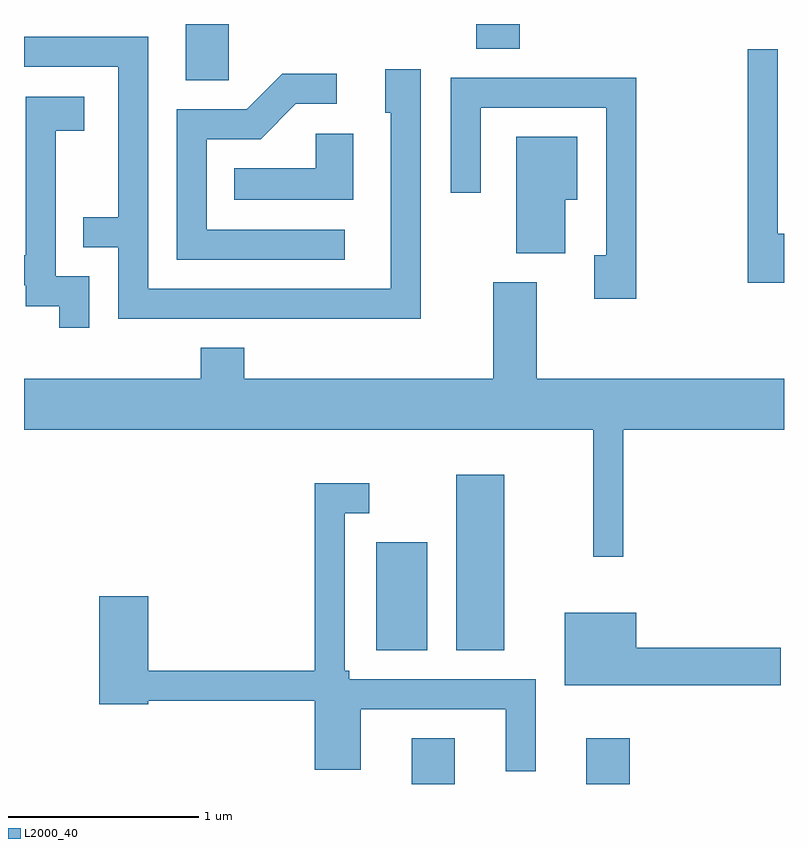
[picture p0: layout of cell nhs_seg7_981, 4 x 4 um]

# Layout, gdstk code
import gdstk
lib = gdstk.Library(unit=1e-6, precision=1e-09)
def R(c, l, rs):  # rectangles x0, y0, x1, y1
    for r in rs: c.add(gdstk.rectangle(r[:2], r[2:], *l))
def P(c, l, *ps):  # polygons
    for p in ps: c.add(gdstk.Polygon(p, *l))
L2000_40 = (2000, 40)

nhs_seg7_981 = lib.new_cell('nhs_seg7_981')
R(nhs_seg7_981, L2000_40, [(217.651,1690.252,217.879,1690.494), (218.571,1690.252,218.799,1690.494), (217.466,1690.956,217.734,1691.524), (217.886,1690.956,218.139,1691.879), (216.461,1693.956,216.689,1694.252), (217.991,1694.121,218.219,1694.252)])
P(nhs_seg7_981, L2000_40, [(217.699,1694.014),(217.511,1694.014),(217.511,1693.786),(217.541,1693.786),(217.541,1692.859),(216.264,1692.859),(216.264,1694.184),(215.611,1694.184),(215.611,1694.026),(216.106,1694.026),(216.106,1693.234),(215.923,1693.234),(215.923,1693.076),(216.106,1693.076),(216.106,1692.701),(217.699,1692.701)],
  [(219.611,1693.149),(219.579,1693.149),(219.579,1694.118),(219.421,1694.118),(219.421,1692.891),(219.611,1692.891)],
  [(217.298,1693.169),(216.574,1693.169),(216.574,1693.646),(216.857,1693.646),(217.042,1693.831),(217.258,1693.831),(217.258,1693.989),(216.969,1693.989),(216.784,1693.804),(216.416,1693.804),(216.416,1693.011),(217.298,1693.011)],
  [(218.834,1693.969),(217.856,1693.969),(217.856,1693.363),(218.014,1693.363),(218.014,1693.811),(218.676,1693.811),(218.676,1693.034),(218.611,1693.034),(218.611,1692.806),(218.834,1692.806)],
  [(215.954,1692.924),(215.779,1692.924),(215.779,1693.691),(215.929,1693.691),(215.929,1693.869),(215.621,1693.869),(215.621,1693.034),(215.611,1693.034),(215.611,1692.876),(215.621,1692.876),(215.621,1692.766),(215.796,1692.766),(215.796,1692.653),(215.954,1692.653)],
  [(217.344,1693.674),(217.146,1693.674),(217.146,1693.494),(216.718,1693.494),(216.718,1693.326),(217.344,1693.326)],
  [(218.459,1693.326),(218.524,1693.326),(218.524,1693.659),(218.201,1693.659),(218.201,1693.046),(218.459,1693.046)],
  [(218.764,1692.116),(219.611,1692.116),(219.611,1692.384),(218.309,1692.384),(218.309,1692.894),(218.081,1692.894),(218.081,1692.384),(216.769,1692.384),(216.769,1692.549),(216.541,1692.549),(216.541,1692.384),(215.611,1692.384),(215.611,1692.116),(218.606,1692.116),(218.606,1691.448),(218.764,1691.448)],
  [(218.304,1690.804),(217.324,1690.804),(217.324,1690.849),(217.299,1690.849),(217.299,1691.676),(217.428,1691.676),(217.428,1691.834),(217.141,1691.834),(217.141,1690.849),(216.264,1690.849),(216.264,1691.239),(216.006,1691.239),(216.006,1690.671),(216.264,1690.671),(216.264,1690.691),(217.141,1690.691),(217.141,1690.326),(217.384,1690.326),(217.384,1690.646),(218.146,1690.646),(218.146,1690.318),(218.304,1690.318)],
  [(219.594,1690.969),(218.834,1690.969),(218.834,1691.154),(218.456,1691.154),(218.456,1690.771),(219.594,1690.771)])

lib.write_gds('nhs_seg7_981.gds')
